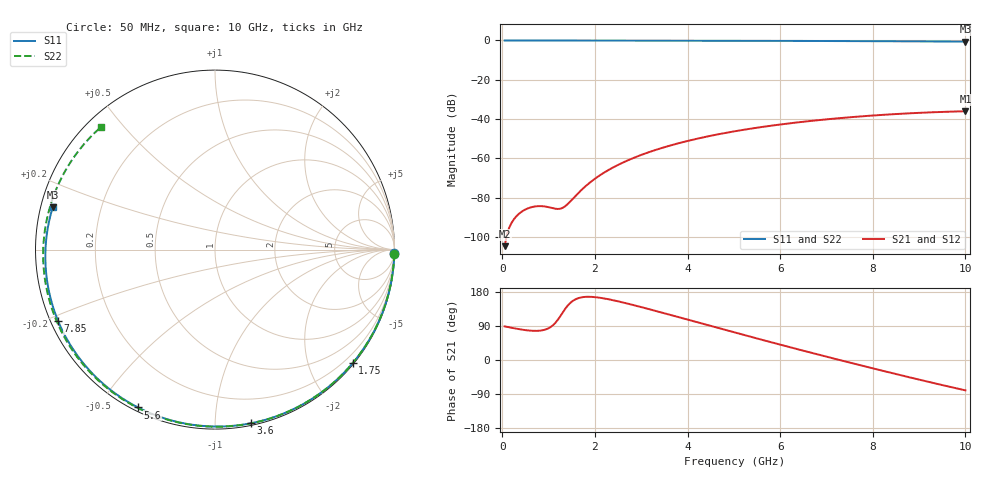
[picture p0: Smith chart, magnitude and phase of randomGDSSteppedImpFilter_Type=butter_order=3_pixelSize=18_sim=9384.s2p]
! freq	dB(S11)	phase(S11)	dB(S12)	phase(S12)
!  dB(S21)	phase(S21)	dB(S22)	phase(S22)
!S-par simulation data
#  GHz  S  DB  R 50
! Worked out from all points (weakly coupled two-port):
!   200 points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, 50 MHz to 10 GHz, reference 50 ohm
!   highest |S21| = -36.01 dB at 10 GHz (marker M1); lowest = -104.6 dB at 50 MHz (marker M2)
!   lowest |S11| = -0.6 dB at 10 GHz (marker M3), VSWR 29.37, Z = 1.73 + j6.42 ohm
!   |S11| at or under -10 dB: nowhere
!   |S22| runs from -0.6 to 0.0 dB; largest |S21 - S12| = 0
!   S11 on the Smith chart (normalised r, x): 50 MHz: open; 1.75 GHz: 0.03, -2.78; 3.6 GHz: 0.01, -1.23; 5.6 GHz: 0.02, -0.62; 7.85 GHz: 0.02, -0.22; 10 GHz: 0.03, +0.13
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0.05  -0.00 -1.1  -104.63 88.7  -104.63 88.7  -0.00 -1.3
0.4  -0.01 -9.2  -87.40 80.6  -87.40 80.6  -0.02 -10.9
0.75  -0.02 -17.2  -84.31 76.9  -84.31 76.9  -0.03 -20.5
1.1  -0.03 -25.1  -85.36 92.4  -85.36 92.4  -0.04 -29.9
1.5  -0.04 -34.0  -81.11 153.9  -81.11 153.9  -0.05 -40.4
1.55  -0.04 -35.1  -79.85 158.1  -79.85 158.1  -0.05 -41.8
1.75  -0.05 -39.5  -75.15 166.1  -75.15 166.1  -0.06 -46.9
2.05  -0.06 -46.0  -69.50 165.3  -69.50 165.3  -0.07 -54.6
2.45  -0.07 -54.6  -63.89 156.2  -63.89 156.2  -0.08 -64.6
2.9  -0.08 -64.0  -59.13 142.8  -59.13 142.8  -0.10 -75.5
3.4  -0.10 -74.2  -55.02 126.6  -55.02 126.6  -0.11 -87.3
3.6  -0.10 -78.2  -53.61 120.0  -53.61 120.0  -0.12 -91.9
4.3  -0.13 -91.9  -49.49 96.6  -49.49 96.6  -0.15 -107.4
5.05  -0.16 -106.0  -46.07 71.6  -46.07 71.6  -0.18 -123.4
5.6  -0.19 -116.0  -44.03 53.5  -44.03 53.5  -0.21 -134.8
6.15  -0.22 -125.8  -42.31 35.7  -42.31 35.7  -0.25 -145.9
6.7  -0.26 -135.5  -40.84 18.2  -40.84 18.2  -0.29 -157.0
7.3  -0.30 -146.0  -39.48 -0.5  -39.48 -0.5  -0.33 -169.1
7.85  -0.35 -155.6  -38.43 -17.4  -38.43 -17.4  -0.38 179.7
8.35  -0.40 -164.4  -37.64 -32.6  -37.64 -32.6  -0.43 169.4
9.15  -0.49 -178.7  -36.66 -56.1  -36.66 -56.1  -0.51 152.3
10  -0.59 165.4  -36.01 -80.1  -36.01 -80.1  -0.61 133.1
